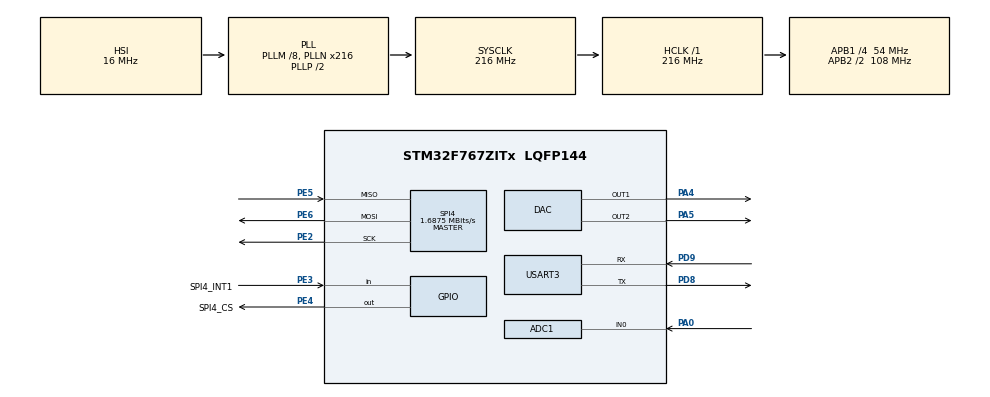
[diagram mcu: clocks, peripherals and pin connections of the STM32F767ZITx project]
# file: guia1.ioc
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ADC1.Channel-1\#ChannelRegularConversion=ADC_CHANNEL_0
ADC1.ContinuousConvMode=DISABLE
ADC1.EOCSelection=ADC_EOC_SEQ_CONV
ADC1.ExternalTrigConv=ADC_EXTERNALTRIGCONV_T6_TRGO
ADC1.NbrOfConversionFlag=1
ADC1.Rank-1\#ChannelRegularConversion=1
ADC1.SamplingTime-1\#ChannelRegularConversion=ADC_SAMPLETIME_3CYCLES
ADC1.master=1
DAC.DAC_Trigger2=DAC_TRIGGER_T2_TRGO
Dma.DAC2.0.Direction=DMA_MEMORY_TO_PERIPH
Dma.DAC2.0.FIFOMode=DMA_FIFOMODE_DISABLE
Dma.DAC2.0.Instance=DMA1_Stream6
Dma.DAC2.0.MemDataAlignment=DMA_MDATAALIGN_WORD
Dma.DAC2.0.MemInc=DMA_MINC_ENABLE
Dma.DAC2.0.Mode=DMA_CIRCULAR
Dma.DAC2.0.PeriphDataAlignment=DMA_PDATAALIGN_WORD
Dma.DAC2.0.PeriphInc=DMA_PINC_DISABLE
Dma.DAC2.0.Priority=DMA_PRIORITY_VERY_HIGH
Dma.Request0=DAC2
Mcu.Family=STM32F7
Mcu.Name=STM32F767ZITx
Mcu.Package=LQFP144
NVIC.ADC_IRQn=true\:0\:0\:false\:false\:true\:true\:true\:true
NVIC.DMA1_Stream6_IRQn=true\:0\:0\:false\:false\:true\:false\:true\:true
NVIC.PriorityGroup=NVIC_PRIORITYGROUP_4
NVIC.TIM2_IRQn=true\:0\:0\:false\:false\:true\:true\:true\:true
NVIC.USART3_IRQn=true\:0\:0\:false\:false\:true\:true\:true\:true
PA0/WKUP.Signal=ADCx_IN0
PA13.GPIO_Label=TMS
PA13.Mode=Serial_Wire
PA13.Signal=SYS_JTMS-SWDIO
PA14.GPIO_Label=TCK
PA14.Mode=Serial_Wire
PA14.Signal=SYS_JTCK-SWCLK
PA4.Signal=COMP_DAC1_group
PA5.Signal=COMP_DAC2_group
PD8.Mode=Asynchronous
PD8.Signal=USART3_TX
PD9.Mode=Asynchronous
PD9.Signal=USART3_RX
PE2.Mode=Full_Duplex_Master
PE2.Signal=SPI4_SCK
PE3.GPIO_Label=SPI4_INT1
PE3.Signal=GPIO_Input
PE4.GPIO_Label=SPI4_CS
PE4.Signal=GPIO_Output
PE5.Mode=Full_Duplex_Master
PE5.Signal=SPI4_MISO
PE6.Mode=Full_Duplex_Master
PE6.Signal=SPI4_MOSI
ProjectManager.HeapSize=0x200
ProjectManager.StackSize=0x400
ProjectManager.TargetToolchain=STM32CubeIDE
RCC.48MHZClocksFreq_Value=24000000
RCC.AHBFreq_Value=216000000
RCC.APB1CLKDivider=RCC_HCLK_DIV4
RCC.APB1Freq_Value=54000000
RCC.APB1TimFreq_Value=108000000
RCC.APB2CLKDivider=RCC_HCLK_DIV2
RCC.APB2Freq_Value=108000000
RCC.APB2TimFreq_Value=216000000
RCC.CortexFreq_Value=216000000
RCC.HCLKFreq_Value=216000000
RCC.HSE_VALUE=16000000
RCC.HSI_VALUE=16000000
RCC.LSE_VALUE=32768
RCC.PLLM=8
RCC.PLLMUL=RCC_PLL_MUL9
RCC.PLLN=216
RCC.PRESCALERUSB=RCC_USBCLKSOURCE_PLL_DIV1_5
RCC.SYSCLKFreq_VALUE=216000000
RCC.SYSCLKSource=RCC_SYSCLKSOURCE_PLLCLK
RCC.SYSCLKSourceVirtual=RCC_SYSCLKSOURCE_PLLCLK
RCC.USBFreq_Value=216000000
RCC.VCOOutputFreq_Value=432000000
SH.ADCx_IN0.0=ADC1_IN0,IN0
SH.COMP_DAC1_group.0=DAC_OUT1,DAC_OUT1
SH.COMP_DAC2_group.0=DAC_OUT2,DAC_OUT2
SPI4.BaudRatePrescaler=SPI_BAUDRATEPRESCALER_64
SPI4.CLKPhase=SPI_PHASE_2EDGE
SPI4.CLKPolarity=SPI_POLARITY_HIGH
SPI4.CalculateBaudRate=1.6875 MBits/s
SPI4.DataSize=SPI_DATASIZE_8BIT
SPI4.Direction=SPI_DIRECTION_2LINES
SPI4.Mode=SPI_MODE_MASTER
SPI4.VirtualType=VM_MASTER
TIM2.Period=36000-1
TIM2.Prescaler=1-1
TIM2.TIM_MasterOutputTrigger=TIM_TRGO_UPDATE
TIM6.AutoReloadPreload=TIM_AUTORELOAD_PRELOAD_DISABLE
TIM6.Prescaler=0
TIM6.TIM_MasterOutputTrigger=TIM_TRGO_UPDATE
USART3.VirtualMode-Asynchronous=VM_ASYNC
VP_TIM2_VS_ClockSourceINT.Mode=Internal
VP_TIM6_VS_ClockSourceINT.Mode=Enable_Timer
board=NUCLEO-F767ZI

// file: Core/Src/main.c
/* USER CODE BEGIN Header */
/**
  ******************************************************************************
  * @file           : main.c
  * @brief          : Main program body
  ******************************************************************************
  * @attention
  *
  * <h2><center>&copy; Copyright (c) 2021 STMicroelectronics.
  * All rights reserved.</center></h2>
  *
  * This software component is licensed by ST under BSD 3-Clause license,
  * the "License"; You may not use this file except in compliance with the
  * License. You may obtain a copy of the License at:
  *                        opensource.org/licenses/BSD-3-Clause
  *
  ******************************************************************************
  */
/* USER CODE END Header */
#include "main.h"
#include "adc.h"
#include "dac.h"
#include "dma.h"
#include "spi.h"
#include "tim.h"
#include "usart.h"
#include "gpio.h"

/* USER CODE BEGIN Includes */
#include <string.h>
#include "commands.h"
#include "interface.h" // print startup message
#include "adxl313.h"

//#include "adxl313.h"
/* USER CODE END Includes */

/* USER CODE BEGIN PV */
char last_valid_cmd[RX_BUFF_LEN] = {0};

adxl313_dev *acc_ptr;

static volatile uint16_t x = 0, y = 0, z = 0;

/* USER CODE END PV */

void SystemClock_Config(void);

int main(void)
{
  /* USER CODE BEGIN 1 */
  char c;
  char str[64];

  adxl313_dev acc_dev; // accelerometer

  /* USER CODE END 1 */

  /* MCU Configuration--------------------------------------------------------*/

  /* Reset of all peripherals, Initializes the Flash interface and the Systick. */
  HAL_Init();

  /* Configure the system clock */
  SystemClock_Config();

  /* Initialize all configured peripherals */
  MX_GPIO_Init();
  MX_DMA_Init();
  MX_USART3_UART_Init();
  MX_ADC1_Init();
  MX_DAC_Init();
  MX_TIM2_Init();
  MX_TIM6_Init();
  MX_SPI4_Init();
  /* USER CODE BEGIN 2 */
  // print startup message
  ver_cb(1, NULL);
  UART_puts("\n\rType '?' for list of available commands\n\r");
  UART_puts("Type '? <cmd>' for more info on a given command\n\r");

  HAL_GPIO_WritePin(SPI4_CS_GPIO_Port, SPI4_CS_Pin, (GPIO_PinState)GPIO_PIN_SET);

  /* USER CODE END 2 */

  /* Infinite loop */
  /* USER CODE BEGIN WHILE */

  /* Initialize accelerometer */
  begin(&acc_dev, ADXL313_SPI_COMM, ADXL313_2G_RANGE, ADXL313_FULL_RES, 3200);
  acc_ptr = &acc_dev;

  UART_putchar('>'); // print prompt
  Rx_UART_init(); // set USART3 interrupt

  // int64_t scale_factor = (double)(ADXL313_ACC_SCALE_FACTOR_MUL_FULL_RES / ADXL313_ACC_SCALE_FACTOR_MUL_DIVIDER);
  // double final_factor = 2 * (scale_factor) / (ADXL313_ACC_SCALE_FACTOR_DIV * 9.98);

  while (1)
  {
    if(Rx_flag)
    {
      c = UART_Receive(); // Returns received char
      if(c != (char)(-1))
        // Its not a special character
        UART_putchar(c); // Received char is echoed

      Rx_flag = 0;
    }

    if(cmd_received)
    {
      if(exec_cmd(Rx_Buffer) == 0)// Is there an error?
        // No error. Command is valid
        strcpy(last_valid_cmd, Rx_Buffer); // Save this as last valid command

      UART_putchar('>');// print prompt
      cmd_received = 0;
      Rx_UART_init(); // ready to begin reception
    }

    if(acc_ptr->data_ready)
    {
      acc_ptr->data_ready = false;

      read_accel(acc_ptr);

      // sprintf(str, "x:0x%4X\ty:0x%4X\tz:0x%4X\n\r", acc_ptr->x, acc_ptr->y, acc_ptr->z);
      sprintf(str, "x:%f \t y:%f \t z:%f \n\r", twos_complement(acc_ptr->x,13)*0.001953125, twos_complement(acc_ptr->y,13)*0.001953125, acc_ptr->z*ADXL313_FULL_RES_SCALE_FACTOR);
      // sprintf(str, "x:%f \t y:%f \t z:%f \n\r", acc_ptr->x*0.001953125, acc_ptr->y*0.001953125, acc_ptr->z*0.000976562*2);

      sprintf(str, "x:%1.4f \t y:%1.4f \t z:%1.4f \n\r", acc_ptr->x, acc_ptr->y, acc_ptr->z);
      UART_puts(str);
    }

    // if(HAL_GPIO_ReadPin(SPI4_INT1_GPIO_Port, SPI4_INT1_Pin))
    // {
    //   read_accel(acc_ptr);

    //   sprintf(str, "x:0x%4X\ty:0x%4X\tz:0x%4X\n\r", acc_ptr->x, acc_ptr->y, acc_ptr->z);
    //   UART_puts(str);
    // };
    /* USER CODE END WHILE */

  }
}

void SystemClock_Config(void)
{
  RCC_OscInitTypeDef RCC_OscInitStruct = {0};
  RCC_ClkInitTypeDef RCC_ClkInitStruct = {0};

  /** Configure the main internal regulator output voltage
  */
  __HAL_RCC_PWR_CLK_ENABLE();
  __HAL_PWR_VOLTAGESCALING_CONFIG(PWR_REGULATOR_VOLTAGE_SCALE1);

  /** Initializes the RCC Oscillators according to the specified parameters
  * in the RCC_OscInitTypeDef structure.
  */
  RCC_OscInitStruct.OscillatorType = RCC_OSCILLATORTYPE_HSI;
  RCC_OscInitStruct.HSIState = RCC_HSI_ON;
  RCC_OscInitStruct.HSICalibrationValue = RCC_HSICALIBRATION_DEFAULT;
  RCC_OscInitStruct.PLL.PLLState = RCC_PLL_ON;
  RCC_OscInitStruct.PLL.PLLSource = RCC_PLLSOURCE_HSI;
  RCC_OscInitStruct.PLL.PLLM = 8;
  RCC_OscInitStruct.PLL.PLLN = 216;
  RCC_OscInitStruct.PLL.PLLP = RCC_PLLP_DIV2;
  RCC_OscInitStruct.PLL.PLLQ = 2;
  RCC_OscInitStruct.PLL.PLLR = 2;
  if (HAL_RCC_OscConfig(&RCC_OscInitStruct) != HAL_OK)
  {
    Error_Handler();
  }

  /** Activate the Over-Drive mode
  */
  if (HAL_PWREx_EnableOverDrive() != HAL_OK)
  {
    Error_Handler();
  }

  /** Initializes the CPU, AHB and APB buses clocks
  */
  RCC_ClkInitStruct.ClockType = RCC_CLOCKTYPE_HCLK|RCC_CLOCKTYPE_SYSCLK
                              |RCC_CLOCKTYPE_PCLK1|RCC_CLOCKTYPE_PCLK2;
  RCC_ClkInitStruct.SYSCLKSource = RCC_SYSCLKSOURCE_PLLCLK;
  RCC_ClkInitStruct.AHBCLKDivider = RCC_SYSCLK_DIV1;
  RCC_ClkInitStruct.APB1CLKDivider = RCC_HCLK_DIV4;
  RCC_ClkInitStruct.APB2CLKDivider = RCC_HCLK_DIV2;

  if (HAL_RCC_ClockConfig(&RCC_ClkInitStruct, FLASH_LATENCY_7) != HAL_OK)
  {
    Error_Handler();
  }
}

/* USER CODE BEGIN 4 */

void HAL_GPIO_EXTI_Callback(uint16_t GPIO_Pin)
{
    /* If The INT Source Is EXTI Line3 (PE3 Pin) */
    if(GPIO_Pin == SPI4_INT1_Pin)
    {
      acc_ptr->data_ready = true;
    }
}

/* USER CODE END 4 */

void Error_Handler(void)
{
  __disable_irq();
  while (1)
  {
  }
}
